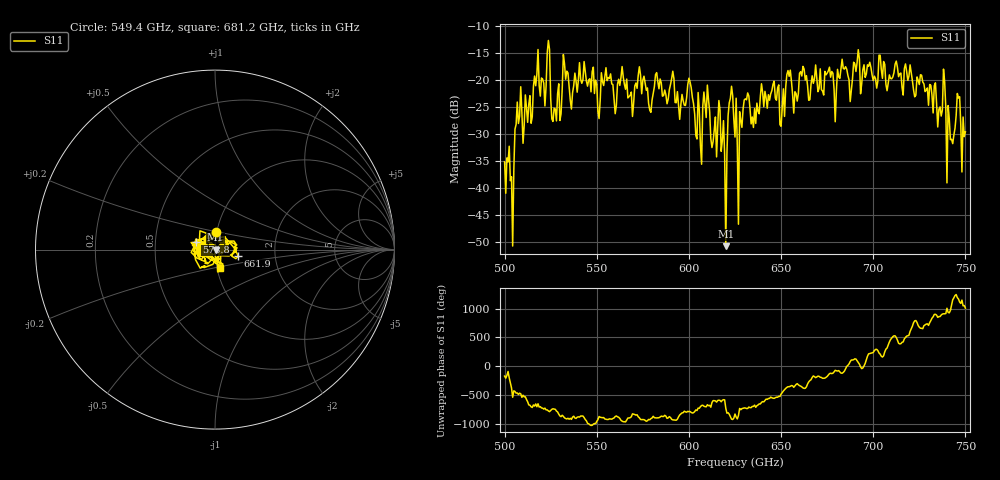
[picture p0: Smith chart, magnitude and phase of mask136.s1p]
!Created with skrf (http://scikit-rf.org).
# GHz S MA R 50.0
!freq magS11 angS11
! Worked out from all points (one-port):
!   401 points, 500 GHz to 750 GHz, reference 50 ohm
!   lowest |S11| = -50.7 dB at 620 GHz (marker M1), VSWR 1.01, Z = 50.3 - j0.0309 ohm
!   |S11| at or under -10 dB: start of sweep to end of sweep
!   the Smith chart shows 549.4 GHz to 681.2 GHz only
!   S11 on the Smith chart (normalised r, x): 549.4 GHz: 1.00, +0.20; 573.8 GHz: 0.81, +0.07; 661.9 GHz: 1.29, -0.09; 681.2 GHz: 1.03, -0.22
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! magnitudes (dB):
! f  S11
! 500 GHz  -35.1
! 504.4 GHz  -50.7
! 507.5 GHz  -28.0
! 513.8 GHz  -22.9
! 516.9 GHz  -21.0
! 523.8 GHz  -12.6
! 526.9 GHz  -25.2
! 531.2 GHz  -21.7
! 549.4 GHz  -20.0
! 562.5 GHz  -21.0
! 573.8 GHz  -19.0
! 593.8 GHz  -22.1
! 600.6 GHz  -20.3
! 605.6 GHz  -25.6
! 609.4 GHz  -26.9
! 620 GHz  -50.7
! 622.5 GHz  -23.3
! 625 GHz  -30.5
! 627.5 GHz  -25.8
! 631.2 GHz  -23.6
! 656.2 GHz  -22.6
! 661.9 GHz  -17.4
! 681.2 GHz  -19.4
! 687.5 GHz  -23.9
! 718.8 GHz  -20.0
! 738.1 GHz  -17.9
! 741.2 GHz  -27.2
! 750 GHz  -29.6
